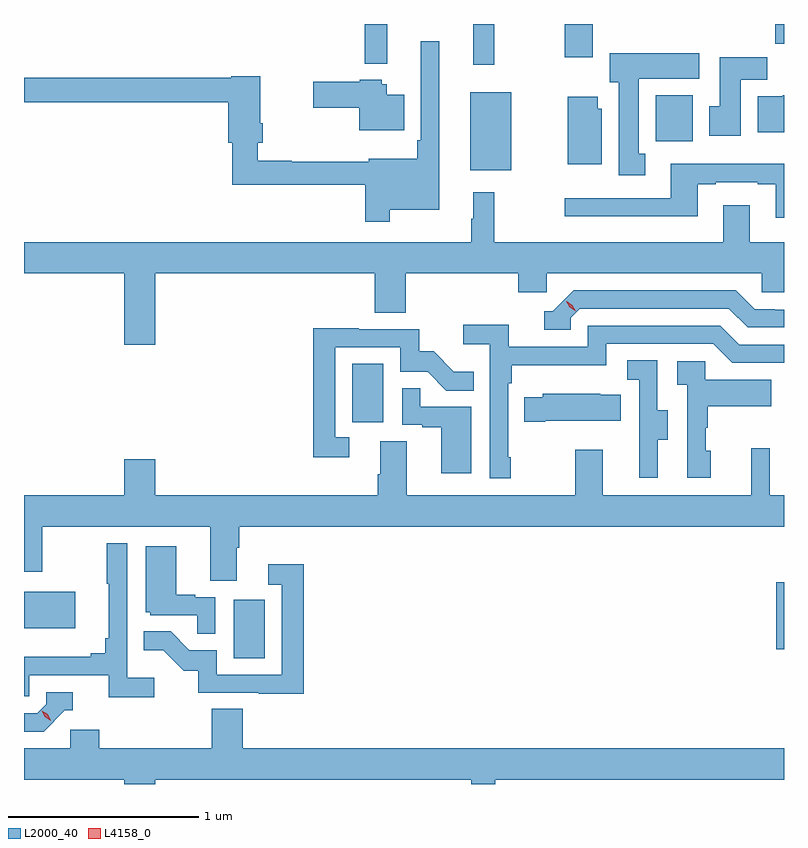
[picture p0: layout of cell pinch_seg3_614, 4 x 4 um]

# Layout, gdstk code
import gdstk
lib = gdstk.Library(unit=1e-6, precision=1e-09)
def R(c, l, rs):  # rectangles x0, y0, x1, y1
    for r in rs: c.add(gdstk.rectangle(r[:2], r[2:], *l))
def P(c, l, *ps):  # polygons
    for p in ps: c.add(gdstk.Polygon(p, *l))
L2000_40 = (2000, 40)
L4158_0 = (4158, 0)

pinch_seg3_614 = lib.new_cell('pinch_seg3_614')
R(pinch_seg3_614, L2000_40, [(1064.684,680.244,1064.848,680.551), (1067.54,680.291,1067.58,680.644), (1063.58,680.402,1063.849,680.593), (1065.308,681.486,1065.472,681.793), (1065.929,682.811,1066.144,683.221), (1066.904,682.964,1067.101,683.206), (1065.944,683.367,1066.054,683.581), (1065.373,683.372,1065.491,683.581), (1066.426,683.406,1066.573,683.581), (1067.533,683.476,1067.58,683.581)])
P(pinch_seg3_614, L2000_40, [(1065.505,682.604),(1065.766,682.604),(1065.766,683.491),(1065.669,683.491),(1065.669,682.969),(1065.649,682.969),(1065.649,682.873),(1065.395,682.873),(1065.395,682.855),(1064.99,682.855),(1064.99,682.862),(1064.809,682.862),(1064.809,682.955),(1064.837,682.955),(1064.837,683.059),(1064.824,683.059),(1064.824,683.307),(1064.67,683.307),(1064.67,683.299),(1063.58,683.299),(1063.58,683.17),(1064.654,683.17),(1064.654,682.955),(1064.677,682.955),(1064.677,682.734),(1065.376,682.734),(1065.376,682.539),(1065.505,682.539)],
  [(1066.849,682.898),(1066.816,682.898),(1066.816,683.294),(1067.134,683.294),(1067.134,683.428),(1066.664,683.428),(1066.664,683.274),(1066.709,683.274),(1066.709,682.785),(1066.849,682.785)],
  [(1067.353,683.288),(1067.492,683.288),(1067.492,683.407),(1067.243,683.407),(1067.243,683.148),(1067.186,683.148),(1067.186,682.992),(1067.353,682.992)],
  [(1065.58,683.209),(1065.49,683.209),(1065.49,683.265),(1065.462,683.265),(1065.462,683.287),(1065.348,683.287),(1065.348,683.277),(1065.102,683.277),(1065.102,683.14),(1065.344,683.14),(1065.344,683.021),(1065.58,683.021)],
  [(1067.58,683.206),(1067.574,683.206),(1067.574,683.2),(1067.441,683.2),(1067.441,683.012),(1067.58,683.012)],
  [(1066.621,683.136),(1066.6,683.136),(1066.6,683.197),(1066.442,683.197),(1066.442,682.844),(1066.621,682.844)],
  [(1067.58,682.846),(1066.985,682.846),(1066.985,682.665),(1066.425,682.665),(1066.425,682.568),(1067.125,682.568),(1067.125,682.737),(1067.221,682.737),(1067.221,682.749),(1067.441,682.749),(1067.441,682.737),(1067.537,682.737),(1067.537,682.56),(1067.58,682.56)],
  [(1064.272,682.268),(1065.425,682.268),(1065.425,682.06),(1065.59,682.06),(1065.59,682.268),(1066.181,682.268),(1066.181,682.17),(1066.332,682.17),(1066.332,682.268),(1067.463,682.268),(1067.463,682.17),(1067.58,682.17),(1067.58,682.432),(1067.401,682.432),(1067.401,682.627),(1067.261,682.627),(1067.261,682.432),(1066.054,682.432),(1066.054,682.696),(1065.944,682.696),(1065.944,682.556),(1065.933,682.556),(1065.933,682.432),(1063.58,682.432),(1063.58,682.268),(1064.108,682.268),(1064.108,681.894),(1064.272,681.894)],
  [(1066.458,682.035),(1066.506,682.083),(1067.289,682.083),(1067.388,681.984),(1067.58,681.984),(1067.58,682.077),(1067.532,682.077),(1067.532,682.08),(1067.425,682.08),(1067.326,682.179),(1066.473,682.179),(1066.362,682.068),(1066.319,682.068),(1066.319,681.972),(1066.458,681.972)],
  [(1066.141,681.301),(1066.128,681.301),(1066.128,681.689),(1066.148,681.689),(1066.148,681.785),(1066.644,681.785),(1066.644,681.897),(1067.208,681.897),(1067.307,681.798),(1067.58,681.798),(1067.58,681.894),(1067.344,681.894),(1067.245,681.993),(1066.548,681.993),(1066.548,681.882),(1066.13,681.882),(1066.13,681.998),(1065.891,681.998),(1065.891,681.896),(1066.032,681.896),(1066.032,681.189),(1066.141,681.189)],
  [(1065.292,681.405),(1065.219,681.405),(1065.219,681.879),(1065.561,681.879),(1065.561,681.75),(1065.705,681.75),(1065.803,681.652),(1065.947,681.652),(1065.947,681.751),(1065.843,681.751),(1065.736,681.858),(1065.66,681.858),(1065.66,681.975),(1065.341,681.975),(1065.341,681.98),(1065.103,681.98),(1065.103,681.3),(1065.292,681.3)],
  [(1066.915,681.394),(1066.969,681.394),(1066.969,681.549),(1066.914,681.549),(1066.914,681.812),(1066.755,681.812),(1066.755,681.709),(1066.818,681.709),(1066.818,681.405),(1066.817,681.405),(1066.817,681.192),(1066.915,681.192)],
  [(1067.194,681.336),(1067.169,681.336),(1067.169,681.455),(1067.179,681.455),(1067.179,681.569),(1067.513,681.569),(1067.513,681.709),(1067.166,681.709),(1067.166,681.807),(1067.019,681.807),(1067.019,681.683),(1067.07,681.683),(1067.07,681.192),(1067.194,681.192)],
  [(1065.934,681.567),(1065.665,681.567),(1065.665,681.665),(1065.57,681.665),(1065.57,681.471),(1065.677,681.471),(1065.677,681.459),(1065.776,681.459),(1065.776,681.216),(1065.934,681.216)],
  [(1066.324,681.494),(1066.721,681.494),(1066.721,681.631),(1066.613,681.631),(1066.613,681.634),(1066.311,681.634),(1066.311,681.616),(1066.213,681.616),(1066.213,681.487),(1066.324,681.487)],
  [(1064.701,680.824),(1064.714,680.824),(1064.714,680.936),(1067.58,680.936),(1067.58,681.1),(1067.505,681.1),(1067.505,681.349),(1067.408,681.349),(1067.408,681.1),(1066.627,681.1),(1066.627,681.34),(1066.48,681.34),(1066.48,681.1),(1065.595,681.1),(1065.595,681.386),(1065.455,681.386),(1065.455,681.212),(1065.443,681.212),(1065.443,681.1),(1064.272,681.1),(1064.272,681.289),(1064.108,681.289),(1064.108,681.1),(1063.58,681.1),(1063.58,680.697),(1063.677,680.697),(1063.677,680.936),(1064.561,680.936),(1064.561,680.65),(1064.701,680.65)],
  [(1064.266,680.14),(1064.124,680.14),(1064.124,680.848),(1064.016,680.848),(1064.016,680.635),(1064.027,680.635),(1064.027,680.347),(1064.008,680.347),(1064.008,680.27),(1063.931,680.27),(1063.931,680.251),(1063.58,680.251),(1063.58,680.043),(1063.608,680.043),(1063.608,680.154),(1064.027,680.154),(1064.027,680.038),(1064.266,680.038)],
  [(1064.586,680.565),(1064.48,680.565),(1064.48,680.578),(1064.38,680.578),(1064.38,680.833),(1064.222,680.833),(1064.222,680.484),(1064.244,680.484),(1064.244,680.469),(1064.491,680.469),(1064.491,680.371),(1064.586,680.371)],
  [(1065.053,680.737),(1064.865,680.737),(1064.865,680.631),(1064.937,680.631),(1064.937,680.157),(1064.595,680.157),(1064.595,680.286),(1064.451,680.286),(1064.353,680.384),(1064.209,680.384),(1064.209,680.285),(1064.313,680.285),(1064.42,680.178),(1064.497,680.178),(1064.497,680.061),(1064.815,680.061),(1064.815,680.056),(1065.053,680.056)],
  [(1063.794,679.968),(1063.837,679.968),(1063.837,680.064),(1063.698,680.064),(1063.698,680.001),(1063.65,679.953),(1063.58,679.953),(1063.58,679.857),(1063.683,679.857)],
  [(1064.272,679.604),(1065.933,679.604),(1065.933,679.581),(1066.061,679.581),(1066.061,679.604),(1067.58,679.604),(1067.58,679.768),(1064.732,679.768),(1064.732,679.976),(1064.567,679.976),(1064.567,679.768),(1063.976,679.768),(1063.976,679.866),(1063.824,679.866),(1063.824,679.768),(1063.58,679.768),(1063.58,679.604),(1064.108,679.604),(1064.108,679.581),(1064.272,679.581)])
P(pinch_seg3_614, L4158_0, [(1066.483,682.069),(1066.452,682.089),(1066.435,682.121),(1066.435,682.122),(1066.436,682.122),(1066.466,682.102),(1066.483,682.07),(1066.483,682.069)],
  [(1063.72,679.914),(1063.689,679.934),(1063.674,679.967),(1063.674,679.967),(1063.674,679.967),(1063.705,679.947),(1063.72,679.914),(1063.72,679.914)])

lib.write_gds('pinch_seg3_614.gds')
